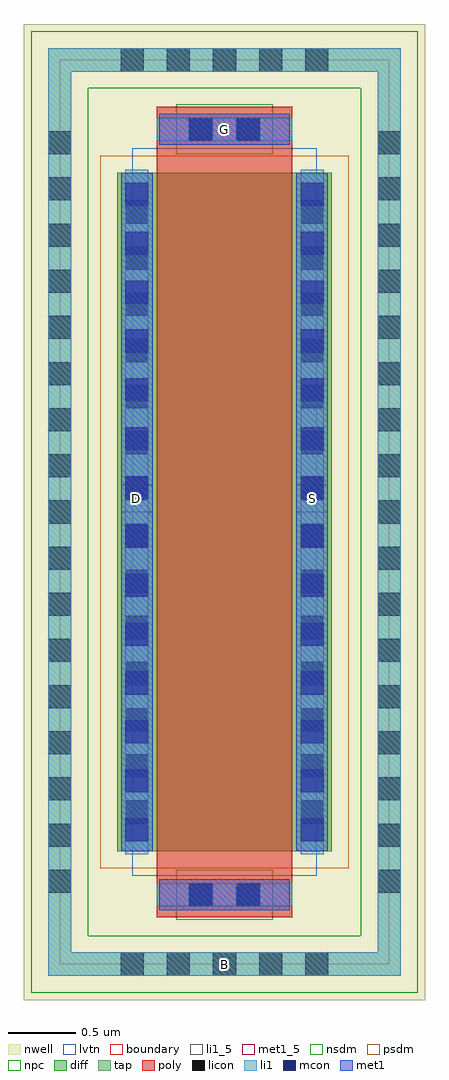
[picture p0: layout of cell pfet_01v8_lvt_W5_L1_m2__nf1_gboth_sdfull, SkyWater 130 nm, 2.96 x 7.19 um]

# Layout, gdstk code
import gdstk
lib = gdstk.Library(unit=1e-6, precision=1e-09)
def R(c, l, rs):  # rectangles x0, y0, x1, y1
    for r in rs: c.add(gdstk.rectangle(r[:2], r[2:], *l))
def A(c, l, x, y, w, h, nx, ny, dx, dy):  # array of equal rectangles
    R(c, l, [(x+i*dx, y+j*dy, x+i*dx+w, y+j*dy+h) for i in range(nx) for j in range(ny)])
nwell = (64, 20)
diff = (65, 20)
tap = (65, 44)
poly = (66, 20)
licon = (66, 44)
li1_5 = (67, 5)
li1 = (67, 20)
mcon = (67, 44)
met1_5 = (68, 5)
met1 = (68, 20)
nsdm = (93, 44)
psdm = (94, 20)
npc = (95, 20)
lvtn = (125, 44)
boundary = (235, 4)

sky130_fd_pr__pfet_01v8_ = lib.new_cell('sky130_fd_pr__pfet_01v8_lvt_HH8RBD')
R(sky130_fd_pr__pfet_01v8_, nwell, [(-1.48,-3.595,1.48,3.595)])
R(sky130_fd_pr__pfet_01v8_, diff, [(-0.79,-2.5,0.79,2.5)])
R(sky130_fd_pr__pfet_01v8_, tap, [(-1.3,-3.415,1.3,-3.245), (-1.3,-3.245,-1.13,3.245), (1.13,-3.245,1.3,3.245), (-1.3,3.245,1.3,3.415)])
R(sky130_fd_pr__pfet_01v8_, poly, [(-0.5,-2.985,0.5,2.985)])
A(sky130_fd_pr__pfet_01v8_, licon, -0.765, -3.415, 0.17, 0.17, 5, 2, 0.34, 6.66)
A(sky130_fd_pr__pfet_01v8_, licon, -1.3, -2.805, 0.17, 0.17, 1, 17, 0, 0.34)
A(sky130_fd_pr__pfet_01v8_, licon, 1.13, -2.805, 0.17, 0.17, 1, 17, 0, 0.34)
A(sky130_fd_pr__pfet_01v8_, licon, -0.73, -2.295, 0.17, 0.17, 1, 14, 0, 0.34)
A(sky130_fd_pr__pfet_01v8_, licon, 0.56, -2.295, 0.17, 0.17, 1, 14, 0, 0.34)
R(sky130_fd_pr__pfet_01v8_, licon, [(-0.255,-2.905,-0.085,-2.735), (0.085,-2.905,0.255,-2.735), (-0.255,2.735,-0.085,2.905), (0.085,2.735,0.255,2.905)])
R(sky130_fd_pr__pfet_01v8_, li1, [(-1.3,-3.415,1.3,-3.245), (-1.3,-3.245,-1.13,3.245), (1.13,-3.245,1.3,3.245), (-0.5,-2.905,0.5,-2.735), (-0.73,-2.52,-0.56,2.52), (0.56,-2.52,0.73,2.52), (-0.5,2.735,0.5,2.905), (-1.3,3.245,1.3,3.415)])
A(sky130_fd_pr__pfet_01v8_, mcon, -0.73, -2.425, 0.17, 0.17, 1, 14, 0, 0.36)
A(sky130_fd_pr__pfet_01v8_, mcon, 0.56, -2.425, 0.17, 0.17, 1, 14, 0, 0.36)
R(sky130_fd_pr__pfet_01v8_, mcon, [(-0.265,-2.905,-0.095,-2.735), (0.095,-2.905,0.265,-2.735), (-0.265,2.735,-0.095,2.905), (0.095,2.735,0.265,2.905)])
R(sky130_fd_pr__pfet_01v8_, met1, [(-0.48,-2.935,0.48,-2.705), (-0.76,-2.5,-0.53,2.5), (0.53,-2.5,0.76,2.5), (-0.48,2.705,0.48,2.935)])
R(sky130_fd_pr__pfet_01v8_, nsdm, [(-1.425,-3.54,1.425,-3.12), (-1.425,-3.12,-1.005,3.12), (1.005,-3.12,1.425,3.12), (-1.425,3.12,1.425,3.54)])
R(sky130_fd_pr__pfet_01v8_, psdm, [(-0.915,-2.625,0.915,2.625)])
R(sky130_fd_pr__pfet_01v8_, npc, [(-0.355,-3.005,0.355,-2.635), (-0.355,2.635,0.355,3.005)])
R(sky130_fd_pr__pfet_01v8_, lvtn, [(-0.68,-2.68,0.68,2.68)])
R(sky130_fd_pr__pfet_01v8_, boundary, [(-1.215,-3.33,1.215,3.33)])
sky130_fd_pr__pfet_01v8_.add(gdstk.Label('B', (0,-3.33), layer=67, texttype=5))
sky130_fd_pr__pfet_01v8_.add(gdstk.Label('D', (-0.645,0), layer=67, texttype=5))
sky130_fd_pr__pfet_01v8_.add(gdstk.Label('S', (0.645,0), layer=67, texttype=5))
sky130_fd_pr__pfet_01v8_.add(gdstk.Label('G', (0,2.82), layer=67, texttype=5))

pfet_01v8_lvt_w5_l1_m2__ = lib.new_cell('pfet_01v8_lvt_W5_L1_m2__nf1_gboth_sdfull')
R(pfet_01v8_lvt_w5_l1_m2__, li1_5, [(1.13,-0.085,1.3,0.085)])
R(pfet_01v8_lvt_w5_l1_m2__, li1, [(1.13,-0.085,1.3,0.085)])
R(pfet_01v8_lvt_w5_l1_m2__, met1_5, [(0.455,3.33,0.685,3.53), (1.745,3.33,1.975,3.53), (0.735,6.035,1.695,6.265)])
R(pfet_01v8_lvt_w5_l1_m2__, met1, [(0.455,3.33,0.685,3.53), (1.745,3.33,1.975,3.53), (0.735,6.035,1.695,6.265)])
pfet_01v8_lvt_w5_l1_m2__.add(gdstk.Reference(sky130_fd_pr__pfet_01v8_, (1.215,3.33)))
pfet_01v8_lvt_w5_l1_m2__.add(gdstk.Label('D', (0.57,3.43), layer=68, texttype=5))
pfet_01v8_lvt_w5_l1_m2__.add(gdstk.Label('S', (1.86,3.43), layer=68, texttype=5))
pfet_01v8_lvt_w5_l1_m2__.add(gdstk.Label('G', (1.215,6.15), layer=68, texttype=5))
pfet_01v8_lvt_w5_l1_m2__.add(gdstk.Label('B', (1.215,0), layer=67, texttype=5))

lib.write_gds('pfet_01v8_lvt_W5_L1_m2__nf1_gboth_sdfull.gds')
